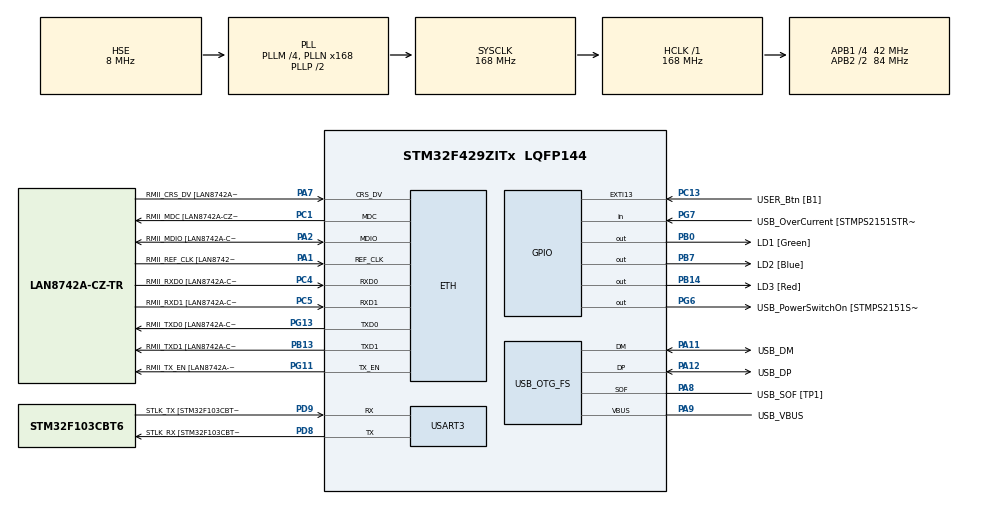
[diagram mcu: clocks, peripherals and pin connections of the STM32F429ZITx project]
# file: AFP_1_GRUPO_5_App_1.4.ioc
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ETH.MediaInterface=HAL_ETH_RMII_MODE
ETH.PHY_Name=LAN8742A_PHY_ADDRESS
ETH.PHY_Value=0
ETH.PhyAddress=0
Mcu.Family=STM32F4
Mcu.Name=STM32F429ZITx
Mcu.Package=LQFP144
NVIC.PriorityGroup=NVIC_PRIORITYGROUP_4
PA1.GPIO_Label=RMII_REF_CLK [LAN8742A-CZ-TR_REFCLK0]
PA1.Mode=RMII
PA1.Signal=ETH_REF_CLK
PA10.GPIO_Label=USB_ID
PA10.Signal=USB_OTG_FS_ID
PA11.GPIO_Label=USB_DM
PA11.Mode=Device_Only
PA11.Signal=USB_OTG_FS_DM
PA12.GPIO_Label=USB_DP
PA12.Mode=Device_Only
PA12.Signal=USB_OTG_FS_DP
PA13.GPIO_Label=TMS
PA13.Mode=Serial_Wire
PA13.Signal=SYS_JTMS-SWDIO
PA14.GPIO_Label=TCK
PA14.Mode=Serial_Wire
PA14.Signal=SYS_JTCK-SWCLK
PA2.GPIO_Label=RMII_MDIO [LAN8742A-CZ-TR_MDIO]
PA2.Mode=RMII
PA2.Signal=ETH_MDIO
PA7.GPIO_Label=RMII_CRS_DV [LAN8742A-CZ-TR_CRS_DV]
PA7.Mode=RMII
PA7.Signal=ETH_CRS_DV
PA8.GPIO_Label=USB_SOF [TP1]
PA8.Mode=Activate_SOF_FS
PA8.Signal=USB_OTG_FS_SOF
PA9.GPIO_Label=USB_VBUS
PA9.Mode=Activate_VBUS
PA9.Signal=USB_OTG_FS_VBUS
PB0.GPIO_Label=LD1 [Green]
PB0.Signal=GPIO_Output
PB13.GPIO_Label=RMII_TXD1 [LAN8742A-CZ-TR_TXD1]
PB13.Mode=RMII
PB13.Signal=ETH_TXD1
PB14.GPIO_Label=LD3 [Red]
PB14.Signal=GPIO_Output
PB7.GPIO_Label=LD2 [Blue]
PB7.Signal=GPIO_Output
PC1.GPIO_Label=RMII_MDC [LAN8742A-CZ-TR_MDC]
PC1.Mode=RMII
PC1.Signal=ETH_MDC
PC13.GPIO_Label=USER_Btn [B1]
PC13.Signal=GPXTI13
PC14/OSC32_IN.Mode=LSE-External-Oscillator
PC14/OSC32_IN.Signal=RCC_OSC32_IN
PC15/OSC32_OUT.Mode=LSE-External-Oscillator
PC15/OSC32_OUT.Signal=RCC_OSC32_OUT
PC4.GPIO_Label=RMII_RXD0 [LAN8742A-CZ-TR_RXD0]
PC4.Mode=RMII
PC4.Signal=ETH_RXD0
PC5.GPIO_Label=RMII_RXD1 [LAN8742A-CZ-TR_RXD1]
PC5.Mode=RMII
PC5.Signal=ETH_RXD1
PD8.GPIO_Label=STLK_RX [STM32F103CBT6_PA3]
PD8.Mode=Asynchronous
PD8.Signal=USART3_TX
PD9.GPIO_Label=STLK_TX [STM32F103CBT6_PA2]
PD9.Mode=Asynchronous
PD9.Signal=USART3_RX
PG11.GPIO_Label=RMII_TX_EN [LAN8742A-CZ-TR_TXEN]
PG11.Mode=RMII
PG11.Signal=ETH_TX_EN
PG13.GPIO_Label=RMII_TXD0 [LAN8742A-CZ-TR_TXD0]
PG13.Mode=RMII
PG13.Signal=ETH_TXD0
PG6.GPIO_Label=USB_PowerSwitchOn [STMPS2151STR_EN]
PG6.Signal=GPIO_Output
PG7.GPIO_Label=USB_OverCurrent [STMPS2151STR_FAULT]
PG7.Signal=GPIO_Input
PH0/OSC_IN.GPIO_Label=MCO [STM32F103CBT6_PA8]
PH0/OSC_IN.Mode=HSE-External-Clock-Source
PH0/OSC_IN.Signal=RCC_OSC_IN
PH1/OSC_OUT.Mode=HSE-External-Clock-Source
PH1/OSC_OUT.Signal=RCC_OSC_OUT
ProjectManager.HeapSize=0x200
ProjectManager.StackSize=0x400
ProjectManager.TargetToolchain=STM32CubeIDE
RCC.48MHZClocksFreq_Value=48000000
RCC.AHBFreq_Value=168000000
RCC.APB1CLKDivider=RCC_HCLK_DIV4
RCC.APB1Freq_Value=42000000
RCC.APB1TimFreq_Value=84000000
RCC.APB2CLKDivider=RCC_HCLK_DIV2
RCC.APB2Freq_Value=84000000
RCC.APB2TimCLKDivider=2
RCC.APB2TimFreq_Value=168000000
RCC.CortexFreq_Value=168000000
RCC.HCLKFreq_Value=168000000
RCC.HSE_VALUE=8000000
RCC.HSI_VALUE=16000000
RCC.PLLM=4
RCC.PLLMUL=RCC_PLL_MUL9
RCC.PLLN=168
RCC.PLLQ=7
RCC.PRESCALERUSB=RCC_USBCLKSOURCE_PLL_DIV1_5
RCC.SYSCLKFreq_VALUE=168000000
RCC.SYSCLKSource=RCC_SYSCLKSOURCE_PLLCLK
RCC.SYSCLKSourceVirtual=RCC_SYSCLKSOURCE_PLLCLK
RCC.USBFreq_Value=48000000
RCC.VCOOutputFreq_Value=336000000
USART3.VirtualMode=VM_ASYNC
USB_OTG_FS.VirtualMode=Device_Only
board=NUCLEO-F429ZI

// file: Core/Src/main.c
/* USER CODE BEGIN Header */
/**
  ******************************************************************************
  * @file           : main.c
  * @brief          : Main program body
  ******************************************************************************
  * @attention
  *
  * Copyright (c) 2024 STMicroelectronics.
  * All rights reserved.
  *
  * This software is licensed under terms that can be found in the LICENSE file
  * in the root directory of this software component.
  * If no LICENSE file comes with this software, it is provided AS-IS.
  *
  ******************************************************************************
  */
/* USER CODE END Header */
#include "main.h"
#include "string.h"

ETH_TxPacketConfig TxConfig;
ETH_DMADescTypeDef  DMARxDscrTab[ETH_RX_DESC_CNT]; /* Ethernet Rx DMA Descriptors */
ETH_DMADescTypeDef  DMATxDscrTab[ETH_TX_DESC_CNT]; /* Ethernet Tx DMA Descriptors */

ETH_HandleTypeDef heth;

UART_HandleTypeDef huart3;

PCD_HandleTypeDef hpcd_USB_OTG_FS;

void SystemClock_Config(void);
static void MX_GPIO_Init(void);
static void MX_ETH_Init(void);
static void MX_USART3_UART_Init(void);
static void MX_USB_OTG_FS_PCD_Init(void);

int main(void)
{

  /* MCU Configuration--------------------------------------------------------*/

  /* Reset of all peripherals, Initializes the Flash interface and the Systick. */
  HAL_Init();

  /* Configure the system clock */
  SystemClock_Config();

  /* Initialize all configured peripherals */
  MX_GPIO_Init();
  MX_ETH_Init();
  MX_USART3_UART_Init();
  MX_USB_OTG_FS_PCD_Init();
  /* USER CODE BEGIN 2 */
  uint16_t vector_leds[CANT_LEDS] = {LD1_Pin, LD2_Pin, LD3_Pin};
  uint16_t vector_tiempos[tiempos] = {100, 250, 500, 1000};
  uint8_t caso = 0;
  /* USER CODE END 2 */

  /* Infinite loop */
  while (1)
  {
	  caso = secuencia(vector_leds, vector_tiempos[caso], caso);
  }
}

void SystemClock_Config(void)
{
  RCC_OscInitTypeDef RCC_OscInitStruct = {0};
  RCC_ClkInitTypeDef RCC_ClkInitStruct = {0};

  /** Configure the main internal regulator output voltage
  */
  __HAL_RCC_PWR_CLK_ENABLE();
  __HAL_PWR_VOLTAGESCALING_CONFIG(PWR_REGULATOR_VOLTAGE_SCALE1);

  /** Initializes the RCC Oscillators according to the specified parameters
  * in the RCC_OscInitTypeDef structure.
  */
  RCC_OscInitStruct.OscillatorType = RCC_OSCILLATORTYPE_HSE;
  RCC_OscInitStruct.HSEState = RCC_HSE_BYPASS;
  RCC_OscInitStruct.PLL.PLLState = RCC_PLL_ON;
  RCC_OscInitStruct.PLL.PLLSource = RCC_PLLSOURCE_HSE;
  RCC_OscInitStruct.PLL.PLLM = 4;
  RCC_OscInitStruct.PLL.PLLN = 168;
  RCC_OscInitStruct.PLL.PLLP = RCC_PLLP_DIV2;
  RCC_OscInitStruct.PLL.PLLQ = 7;
  if (HAL_RCC_OscConfig(&RCC_OscInitStruct) != HAL_OK)
  {
    Error_Handler();
  }

  /** Initializes the CPU, AHB and APB buses clocks
  */
  RCC_ClkInitStruct.ClockType = RCC_CLOCKTYPE_HCLK|RCC_CLOCKTYPE_SYSCLK
                              |RCC_CLOCKTYPE_PCLK1|RCC_CLOCKTYPE_PCLK2;
  RCC_ClkInitStruct.SYSCLKSource = RCC_SYSCLKSOURCE_PLLCLK;
  RCC_ClkInitStruct.AHBCLKDivider = RCC_SYSCLK_DIV1;
  RCC_ClkInitStruct.APB1CLKDivider = RCC_HCLK_DIV4;
  RCC_ClkInitStruct.APB2CLKDivider = RCC_HCLK_DIV2;

  if (HAL_RCC_ClockConfig(&RCC_ClkInitStruct, FLASH_LATENCY_5) != HAL_OK)
  {
    Error_Handler();
  }
}

static void MX_ETH_Init(void)
{

   static uint8_t MACAddr[6];

  heth.Instance = ETH;
  MACAddr[0] = 0x00;
  MACAddr[1] = 0x80;
  MACAddr[2] = 0xE1;
  MACAddr[3] = 0x00;
  MACAddr[4] = 0x00;
  MACAddr[5] = 0x00;
  heth.Init.MACAddr = &MACAddr[0];
  heth.Init.MediaInterface = HAL_ETH_RMII_MODE;
  heth.Init.TxDesc = DMATxDscrTab;
  heth.Init.RxDesc = DMARxDscrTab;
  heth.Init.RxBuffLen = 1524;

  if (HAL_ETH_Init(&heth) != HAL_OK)
  {
    Error_Handler();
  }

  memset(&TxConfig, 0 , sizeof(ETH_TxPacketConfig));
  TxConfig.Attributes = ETH_TX_PACKETS_FEATURES_CSUM | ETH_TX_PACKETS_FEATURES_CRCPAD;
  TxConfig.ChecksumCtrl = ETH_CHECKSUM_IPHDR_PAYLOAD_INSERT_PHDR_CALC;
  TxConfig.CRCPadCtrl = ETH_CRC_PAD_INSERT;

}

static void MX_USART3_UART_Init(void)
{

  huart3.Instance = USART3;
  huart3.Init.BaudRate = 115200;
  huart3.Init.WordLength = UART_WORDLENGTH_8B;
  huart3.Init.StopBits = UART_STOPBITS_1;
  huart3.Init.Parity = UART_PARITY_NONE;
  huart3.Init.Mode = UART_MODE_TX_RX;
  huart3.Init.HwFlowCtl = UART_HWCONTROL_NONE;
  huart3.Init.OverSampling = UART_OVERSAMPLING_16;
  if (HAL_UART_Init(&huart3) != HAL_OK)
  {
    Error_Handler();
  }

}

static void MX_USB_OTG_FS_PCD_Init(void)
{

  hpcd_USB_OTG_FS.Instance = USB_OTG_FS;
  hpcd_USB_OTG_FS.Init.dev_endpoints = 4;
  hpcd_USB_OTG_FS.Init.speed = PCD_SPEED_FULL;
  hpcd_USB_OTG_FS.Init.dma_enable = DISABLE;
  hpcd_USB_OTG_FS.Init.phy_itface = PCD_PHY_EMBEDDED;
  hpcd_USB_OTG_FS.Init.Sof_enable = ENABLE;
  hpcd_USB_OTG_FS.Init.low_power_enable = DISABLE;
  hpcd_USB_OTG_FS.Init.lpm_enable = DISABLE;
  hpcd_USB_OTG_FS.Init.vbus_sensing_enable = ENABLE;
  hpcd_USB_OTG_FS.Init.use_dedicated_ep1 = DISABLE;
  if (HAL_PCD_Init(&hpcd_USB_OTG_FS) != HAL_OK)
  {
    Error_Handler();
  }

}

static void MX_GPIO_Init(void)
{
  GPIO_InitTypeDef GPIO_InitStruct = {0};

  /* GPIO Ports Clock Enable */
  __HAL_RCC_GPIOC_CLK_ENABLE();
  __HAL_RCC_GPIOH_CLK_ENABLE();
  __HAL_RCC_GPIOA_CLK_ENABLE();
  __HAL_RCC_GPIOB_CLK_ENABLE();
  __HAL_RCC_GPIOD_CLK_ENABLE();
  __HAL_RCC_GPIOG_CLK_ENABLE();

  /*Configure GPIO pin Output Level */
  HAL_GPIO_WritePin(GPIOB, LD1_Pin|LD3_Pin|LD2_Pin, GPIO_PIN_RESET);

  /*Configure GPIO pin Output Level */
  HAL_GPIO_WritePin(USB_PowerSwitchOn_GPIO_Port, USB_PowerSwitchOn_Pin, GPIO_PIN_RESET);

  /*Configure GPIO pin : USER_Btn_Pin */
  GPIO_InitStruct.Pin = USER_Btn_Pin;
  GPIO_InitStruct.Mode = GPIO_MODE_IT_RISING;
  GPIO_InitStruct.Pull = GPIO_NOPULL;
  HAL_GPIO_Init(USER_Btn_GPIO_Port, &GPIO_InitStruct);

  /*Configure GPIO pins : LD1_Pin LD3_Pin LD2_Pin */
  GPIO_InitStruct.Pin = LD1_Pin|LD3_Pin|LD2_Pin;
  GPIO_InitStruct.Mode = GPIO_MODE_OUTPUT_PP;
  GPIO_InitStruct.Pull = GPIO_NOPULL;
  GPIO_InitStruct.Speed = GPIO_SPEED_FREQ_LOW;
  HAL_GPIO_Init(GPIOB, &GPIO_InitStruct);

  /*Configure GPIO pin : USB_PowerSwitchOn_Pin */
  GPIO_InitStruct.Pin = USB_PowerSwitchOn_Pin;
  GPIO_InitStruct.Mode = GPIO_MODE_OUTPUT_PP;
  GPIO_InitStruct.Pull = GPIO_NOPULL;
  GPIO_InitStruct.Speed = GPIO_SPEED_FREQ_LOW;
  HAL_GPIO_Init(USB_PowerSwitchOn_GPIO_Port, &GPIO_InitStruct);

  /*Configure GPIO pin : USB_OverCurrent_Pin */
  GPIO_InitStruct.Pin = USB_OverCurrent_Pin;
  GPIO_InitStruct.Mode = GPIO_MODE_INPUT;
  GPIO_InitStruct.Pull = GPIO_NOPULL;
  HAL_GPIO_Init(USB_OverCurrent_GPIO_Port, &GPIO_InitStruct);

}

/* USER CODE BEGIN 4 */
uint8_t secuencia(uint16_t* vector_leds, uint16_t tiempo, uint8_t caso){
	/*TIEMPO DE ENCENDIDO*/
	for(int tick=0;tick<(tiempo/2);tick++){
		if(HAL_GPIO_ReadPin(USER_Btn_GPIO_Port, USER_Btn_Pin) == GPIO_PIN_SET){
			while(HAL_GPIO_ReadPin(USER_Btn_GPIO_Port, USER_Btn_Pin) == GPIO_PIN_SET){}; //Antirebote por SW
			for(int i=0;i<CANT_LEDS;i++){
				HAL_GPIO_WritePin(GPIOB, vector_leds[i], GPIO_PIN_RESET);
			}
			if(caso != (tiempos-1)){
				return (caso+1);
			}else{
				return 0;
			}
		}
		for(int j=0;j<CANT_LEDS;j++){
			HAL_GPIO_WritePin(GPIOB, vector_leds[j], GPIO_PIN_SET);
		}
		HAL_Delay(1);
	}
	/*TIEMPO DE APAGADO*/
	for(int tick=0;tick<(tiempo/2);tick++){
		if(HAL_GPIO_ReadPin(USER_Btn_GPIO_Port, USER_Btn_Pin) == GPIO_PIN_SET){
			while(HAL_GPIO_ReadPin(USER_Btn_GPIO_Port, USER_Btn_Pin) == GPIO_PIN_SET){};
			for(int i=0;i<CANT_LEDS;i++){
				HAL_GPIO_WritePin(GPIOB, vector_leds[i], GPIO_PIN_RESET);
			}
			if(caso != (tiempos-1)){
				return (caso+1);
			}else{
				return 0;
			}
		}
		for(int j=0;j<CANT_LEDS;j++){
			HAL_GPIO_WritePin(GPIOB, vector_leds[j], GPIO_PIN_RESET);
		}
		HAL_Delay(1);
	}
	return caso;
}

/* USER CODE END 4 */

void Error_Handler(void)
{
  /* USER CODE BEGIN Error_Handler_Debug */
  /* User can add his own implementation to report the HAL error return state */

/* USER CODE END 4 */

/**
  * @brief  This function is executed in case of error occurrence.
  * @retval None
  */
void Error_Handler(void)
{
  /* USER CODE BEGIN Error_Handler_Debug */
  /* User can add his own implementation to report the HAL error return state */
  __disable_irq();
  while (1)
  {
  }
  /* USER CODE END Error_Handler_Debug */
}}
